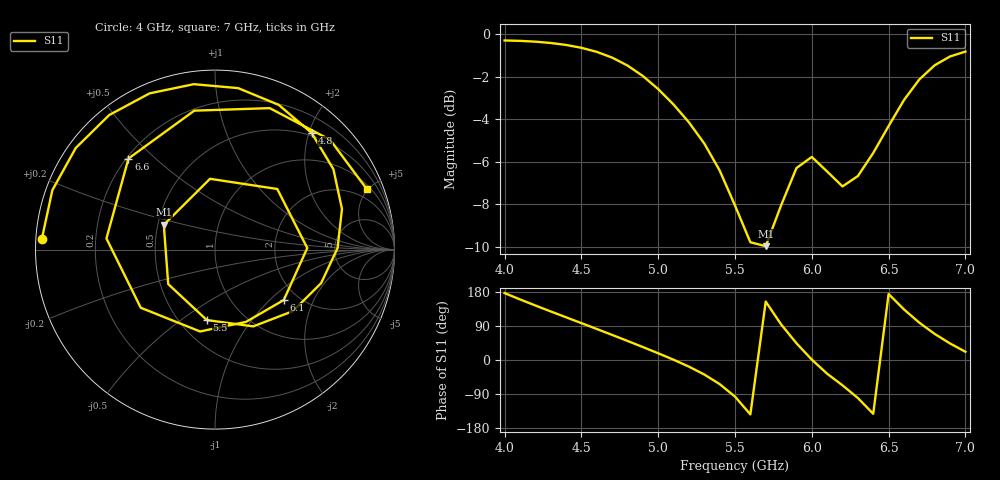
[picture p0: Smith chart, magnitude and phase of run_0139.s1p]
! Touchstone file exported from HFSS 2024.2.0
!  File:  C:/Users/wsak9/Desktop/Sim Fast/Widenad Patch/WP_AI_V1_sweep.aedt
!  Generated:  08:43:55 PM Oct 13, 2026
!  Design:  A1_model
!  Project:  WP_AI_V1_sweep
!  Setup:  Setup1
!  Solution:  Sweep
! Variables:
!  Air_gap = 2.91mm
!  Curve_Amp1 = 2.09
!  Curve_len1 = 1
!  Curve_pos = 10.24mm
!  Extra = 1.39mm
!  H_sub = 0.79mm
!  L_Patch = 16.48mm
!  L_Patch1 = 17.93mm
!  Sx = 3.63mm
!  Sy = 4.15mm
!  WS = 1.06mm
!  W_Patch = 12.86mm
!  W_Patch1 = 16.54mm
!Data is not renormalized
# GHz S MA
! Terminal data exported
! Port[1] = 1
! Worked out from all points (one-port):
!   31 points, 4 GHz to 7 GHz, reference per port
!   lowest |S11| = -10.0 dB at 5.7 GHz (marker M1), VSWR 1.93
!   |S11| at or under -10 dB: nowhere
!   S11 on the Smith chart (normalised r, x): 4 GHz: 0.02, +0.03; 4.8 GHz: 0.45, +2.05; 5.5 GHz: 0.68, -0.63; 6.1 GHz: 1.68, -1.22; 6.6 GHz: 0.21, +0.41; 7 GHz: 1.24, +4.89
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4  0.9668 176.6
4.1  0.9647 159.9
4.2  0.9605 143.9
4.4  0.9436 112.7
4.5  0.9291 97.3
4.6  0.9089 81.8
4.8  0.844 50.3
4.9  0.7974 34.2
5  0.7428 17.8
5.2  0.6203 -17.5
5.3  0.5531 -38.3
5.4  0.4779 -63.5
5.5  0.3952 -96.6
5.6  0.3238 -143.6
5.7  0.317 154.2
5.8  0.3954 94.0
5.9  0.4841 44.2
6  0.5142 1.0
6.1  0.4751 -36.3
6.2  0.4383 -66.8
6.3  0.4636 -100.3
6.4  0.5254 -141.9
6.5  0.608 174.1
6.6  0.6999 133.5
6.7  0.7826 98.5
6.8  0.8451 68.9
6.9  0.8865 43.6
7  0.9101 21.8
